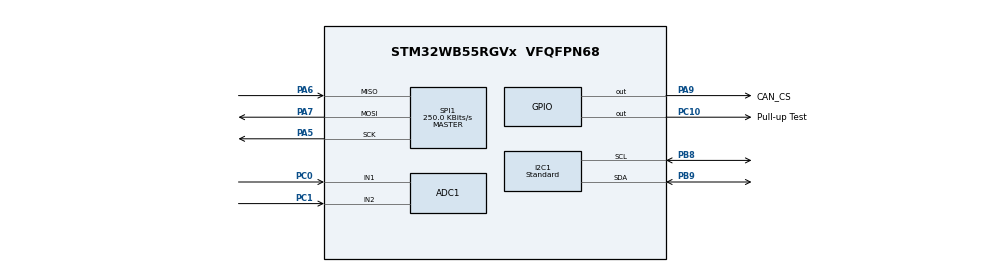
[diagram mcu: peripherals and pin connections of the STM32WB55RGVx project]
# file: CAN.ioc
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ADC1.Channel-2\#ChannelRegularConversion=ADC_CHANNEL_1
ADC1.NbrOfConversionFlag=1
ADC1.OffsetNumber-2\#ChannelRegularConversion=ADC_OFFSET_NONE
ADC1.Rank-2\#ChannelRegularConversion=1
ADC1.SamplingTime-2\#ChannelRegularConversion=ADC_SAMPLETIME_2CYCLES_5
ADC1.SingleDiff-2\#ChannelRegularConversion=ADC_DIFFERENTIAL_ENDED
ADC1.master=1
I2C1.I2C_Speed_Mode=I2C_Standard
I2C1.Speed=100
I2C1.Timing=0x00B07CB4
Mcu.Family=STM32WB
Mcu.Name=STM32WB55RGVx
Mcu.Package=VFQFPN68
NVIC.PriorityGroup=NVIC_PRIORITYGROUP_4
OSC_IN.GPIO_Label=RCC_OSC_IN
OSC_IN.Mode=HSE-External-Oscillator
OSC_IN.Signal=RCC_OSC_IN
OSC_OUT.GPIO_Label=RCC_OSC_OUT
OSC_OUT.Mode=HSE-External-Oscillator
OSC_OUT.Signal=RCC_OSC_OUT
PA11.GPIO_Label=USB_DM
PA11.Signal=USB_DM
PA12.GPIO_Label=USB_DP
PA12.Signal=USB_DP
PA13.GPIO_Label=JTMS
PA13.Mode=Serial_Wire
PA13.Signal=SYS_JTMS-SWDIO
PA14.GPIO_Label=JTCK
PA14.Mode=Serial_Wire
PA14.Signal=SYS_JTCK-SWCLK
PA5.Mode=Full_Duplex_Master
PA5.Signal=SPI1_SCK
PA6.Mode=Full_Duplex_Master
PA6.Signal=SPI1_MISO
PA7.Mode=Full_Duplex_Master
PA7.Signal=SPI1_MOSI
PA9.GPIO_Label=CAN_CS
PA9.Signal=GPIO_Output
PB3.GPIO_Label=JTDO
PB3.Signal=SYS_JTDO-SWO
PB6.GPIO_Label=STLINK_RX
PB6.Signal=USART1_TX
PB7.GPIO_Label=STLINK_TX
PB7.Signal=USART1_RX
PB8.GPIO_Pu=GPIO_PULLUP
PB8.Mode=I2C
PB8.Signal=I2C1_SCL
PB9.GPIO_Pu=GPIO_PULLUP
PB9.Mode=I2C
PB9.Signal=I2C1_SDA
PC0.Signal=ADCx_IN1
PC1.Signal=ADCx_IN2
PC10.GPIO_Label=Pull-up Test
PC10.GPIO_PuPd=GPIO_PULLUP
PC10.Signal=GPIO_Output
PC13.GPIO_Label=SYS_WKUP2
PC13.Signal=SYS_WKUP2
PC14-OSC32_IN.GPIO_Label=RCC_OSC32_IN
PC14-OSC32_IN.Mode=LSE-External-Oscillator
PC14-OSC32_IN.Signal=RCC_OSC32_IN
PC15-OSC32_OUT.GPIO_Label=RCC_OSC32_OUT
PC15-OSC32_OUT.Mode=LSE-External-Oscillator
PC15-OSC32_OUT.Signal=RCC_OSC32_OUT
ProjectManager.HeapSize=0x200
ProjectManager.StackSize=0x400
ProjectManager.TargetToolchain=STM32CubeIDE
RCC.ADCFreq_Value=48000000
RCC.AHBFreq_Value=32000000
RCC.APB1Freq_Value=32000000
RCC.APB1TimFreq_Value=32000000
RCC.APB2Freq_Value=32000000
RCC.APB2TimFreq_Value=32000000
RCC.APB3Freq_Value=16000000
RCC.CortexFreq_Value=32000000
RCC.HCLKFreq_Value=32000000
RCC.HSE_VALUE=32000000
RCC.HSI48_VALUE=48000000
RCC.HSI_VALUE=16000000
RCC.PLLN=24
RCC.PLLR=RCC_PLLR_DIV3
RCC.PLLSAI1N=24
RCC.SMPSCLockSelection=RCC_SMPSCLKSOURCE_HSI
RCC.SMPSCLockSelectionVirtual=RCC_SMPSCLKSOURCE_HSI
RCC.SMPSCLockSelectionVirtualVirtual=RCC_SMPSCLKSOURCE_HSI
RCC.SMPSDivider=1
RCC.SYSCLKFreq_VALUE=32000000
RCC.SYSCLKSource=RCC_SYSCLKSOURCE_PLLCLK
RCC.USBFreq_Value=48000000
RCC.VCOOutputFreq_Value=96000000
SH.ADCx_IN1.0=ADC1_IN1,IN1-Differential
SH.ADCx_IN2.0=ADC1_IN2,IN1-Differential
SPI1.BaudRatePrescaler=SPI_BAUDRATEPRESCALER_128
SPI1.CalculateBaudRate=250.0 KBits/s
SPI1.DataSize=SPI_DATASIZE_8BIT
SPI1.Direction=SPI_DIRECTION_2LINES
SPI1.Mode=SPI_MODE_MASTER
SPI1.VirtualType=VM_MASTER
VP_IPCC_VS_IPCC.Mode=IPCC_Activate
VP_MEMORYMAP_VS_MEMORYMAP.Mode=CurAppReg
board=P-NUCLEO-WB55-NUCLEO

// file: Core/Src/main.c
/* USER CODE BEGIN Header */
/**
  ******************************************************************************
  * @file           : main.c
  * @brief          : Main program body
  ******************************************************************************
  * @attention
  *
  * Copyright (c) 2024 STMicroelectronics.
  * All rights reserved.
  *
  * This software is licensed under terms that can be found in the LICENSE file
  * in the root directory of this software component.
  * If no LICENSE file comes with this software, it is provided AS-IS.
  *
  ******************************************************************************
  */
/* USER CODE END Header */
#include "main.h"

/* USER CODE BEGIN Includes */
#include <math.h>
#include "spi.h"
#include "gpio.h"
#include "CANSPI.h"
#include "ltc2497.h"  // Adjusted include to match the filename
/* USER CODE END Includes */

/* USER CODE BEGIN PD */
#define LTC2497_DEVICE_ADDRESS    LTC2497_I2C_ADDRESS  // Use the address defined in ltc2497.h
#define NUM_POINTS 33
/* USER CODE END PD */

ADC_HandleTypeDef hadc1;

I2C_HandleTypeDef hi2c1;

IPCC_HandleTypeDef hipcc;

SPI_HandleTypeDef hspi1;

/* USER CODE BEGIN PV */
int8_t thermistor_values[NUM_THERMISTORS];  // Store temperature values in °C

// Define the differential channels you want to read
uint8_t differential_channels[NUM_THERMISTORS] = {
    LTC2497_CH_P0_N1,  // First differential pair (Adjusted constants)
    LTC2497_CH_P2_N3,   // Second differential pair
	LTC2497_CH_P4_N5,
	LTC2497_CH_P6_N7,
	LTC2497_CH_P8_N9,
	LTC2497_CH_P10_N11,
	LTC2497_CH_P12_N13,
	LTC2497_CH_P14_N15
};

uint32_t last_address_claim_time = 0;
uint32_t last_module_broadcast_time = 0;
uint32_t last_general_broadcast_time = 0;

uCAN_MSG txMessage;
uCAN_MSG rxMessage;

uint8_t adc_command;
int32_t adc_code;
float adc_voltage;
float temperature_celsius;
float vref = 5.0f; // Reference voltage for the LTC2497, adjust if different

float voltage_table[NUM_POINTS] = {
    2.44, 2.42, 2.40, 2.38, 2.35, 2.32, 2.27, 2.23, 2.17, 2.11, 2.05, 1.99,
    1.92, 1.86, 1.80, 1.74, 1.68, 1.63, 1.59, 1.55, 1.51, 1.48, 1.45, 1.43,
    1.40, 1.38, 1.37, 1.35, 1.34, 1.33, 1.32, 1.31, 1.30
};

float temperature_table[NUM_POINTS] = {
    -40, -35, -30, -25, -20, -15, -10, -5, 0, 5, 10, 15,
    20, 25, 30, 35, 40, 45, 50, 55, 60, 65, 70, 75,
    80, 85, 90, 95, 100, 105, 110, 115, 120
};
/* USER CODE END PV */

void SystemClock_Config(void);
void PeriphCommonClock_Config(void);
static void MX_GPIO_Init(void);
static void MX_ADC1_Init(void);
static void MX_I2C1_Init(void);
static void MX_SPI1_Init(void);
static void MX_IPCC_Init(void);
/* USER CODE BEGIN PFP */
void Send_Address_Claim_Broadcast(void);
void Send_Thermistor_Module_Broadcast(void);
void Send_Thermistor_General_Broadcast(void);

uint8_t I2C_DeviceReady(I2C_HandleTypeDef *hi2c, uint16_t device_address);
/* USER CODE END PFP */

/* USER CODE BEGIN 0 */
/* Function to convert differential voltage to temperature */
float VoltageToTemperature(float voltage)
{
    // Handle out-of-range voltages
    if (voltage >= voltage_table[0])
    {
        return temperature_table[0]; // Voltage is higher than highest in table
    }
    if (voltage <= voltage_table[NUM_POINTS - 1])
    {
        return temperature_table[NUM_POINTS - 1]; // Voltage is lower than lowest in table
    }

    // Search for the interval containing the voltage
    for (int i = 0; i < NUM_POINTS - 1; i++)
    {
        if (voltage <= voltage_table[i] && voltage >= voltage_table[i+1])
        {
            // Perform linear interpolation
            float v1 = voltage_table[i];
            float v2 = voltage_table[i+1];
            float t1 = temperature_table[i];
            float t2 = temperature_table[i+1];

            // Interpolate
            float temperature = t1 + (voltage - v1) * (t2 - t1) / (v2 - v1);

            return temperature;
        }
    }

    // If voltage not found in table, return an error value
    return -999; // Indicate error
}

uint8_t I2C_DeviceReady(I2C_HandleTypeDef *hi2c, uint16_t device_address)
{
    if (HAL_I2C_IsDeviceReady(hi2c, device_address << 1, 3, 1000) == HAL_OK)
    {
        // Device is ready
        return 1;
    }
    else
    {
        // Device is not ready
        return 0;
    }
}
/* USER CODE END 0 */

int main(void)
{

  /* MCU Configuration--------------------------------------------------------*/

  HAL_Init();

  SystemClock_Config();
  PeriphCommonClock_Config();
  MX_IPCC_Init();

  MX_GPIO_Init();
  MX_ADC1_Init();
  MX_I2C1_Init();
  MX_SPI1_Init();
  /* USER CODE BEGIN 2 */
  CANSPI_Initialize();

  /* USER CODE END 2 */

  /* Infinite loop */
  while (1)
  {

    /* USER CODE BEGIN 3 */
        for (uint8_t i = 0; i < NUM_THERMISTORS; i++)
        {
            // Build command for the current differential channel
            adc_command = differential_channels[i];  // Adjusted command building

            // Read temperature data from LTC2497
            if (LTC2497_Read(LTC2497_DEVICE_ADDRESS, adc_command, &adc_code, 1000) == 0)  // Removed &hi2c1
            {
                // Convert ADC code to voltage
                adc_voltage = LTC2497_CodeToVoltage(adc_code, vref);

                // Convert voltage to temperature in degrees Celsius
                temperature_celsius = VoltageToTemperature(adc_voltage);

                // Store temperature as int8_t in degrees Celsius
                thermistor_values[i] = (int8_t)(temperature_celsius);
            }
            else
            {
                // Handle LTC2497 read error
            }

        }

              // Send Address Claim Broadcast every 200 ms
              if (HAL_GetTick() - last_address_claim_time >= 200)
              {
                  Send_Address_Claim_Broadcast();
                  last_address_claim_time = HAL_GetTick();
              }

              // Send Thermistor Module Broadcast every 100 ms
              if (HAL_GetTick() - last_module_broadcast_time >= 100)
              {
                  Send_Thermistor_Module_Broadcast();
                  last_module_broadcast_time = HAL_GetTick();
              }

              // Send Thermistor General Broadcast every 100 ms
              if (HAL_GetTick() - last_general_broadcast_time >= 100)
              {
                  Send_Thermistor_General_Broadcast();
                  last_general_broadcast_time = HAL_GetTick();
              }

              // Optional: Handle incoming CAN messages
              if (CANSPI_Receive(&rxMessage))
              {
                  // Process received messages if necessary
              }

  /* USER CODE END 3 */
}
}

void SystemClock_Config(void)
{
  RCC_OscInitTypeDef RCC_OscInitStruct = {0};
  RCC_ClkInitTypeDef RCC_ClkInitStruct = {0};

  /** Configure the main internal regulator output voltage
  */
  __HAL_PWR_VOLTAGESCALING_CONFIG(PWR_REGULATOR_VOLTAGE_SCALE1);

  /** Initializes the RCC Oscillators according to the specified parameters
  * in the RCC_OscInitTypeDef structure.
  */
  RCC_OscInitStruct.OscillatorType = RCC_OSCILLATORTYPE_HSI|RCC_OSCILLATORTYPE_HSE
                              |RCC_OSCILLATORTYPE_MSI;
  RCC_OscInitStruct.HSEState = RCC_HSE_ON;
  RCC_OscInitStruct.HSIState = RCC_HSI_ON;
  RCC_OscInitStruct.MSIState = RCC_MSI_ON;
  RCC_OscInitStruct.HSICalibrationValue = RCC_HSICALIBRATION_DEFAULT;
  RCC_OscInitStruct.MSICalibrationValue = RCC_MSICALIBRATION_DEFAULT;
  RCC_OscInitStruct.MSIClockRange = RCC_MSIRANGE_6;
  RCC_OscInitStruct.PLL.PLLState = RCC_PLL_ON;
  RCC_OscInitStruct.PLL.PLLSource = RCC_PLLSOURCE_MSI;
  RCC_OscInitStruct.PLL.PLLM = RCC_PLLM_DIV1;
  RCC_OscInitStruct.PLL.PLLN = 24;
  RCC_OscInitStruct.PLL.PLLP = RCC_PLLP_DIV2;
  RCC_OscInitStruct.PLL.PLLR = RCC_PLLR_DIV3;
  RCC_OscInitStruct.PLL.PLLQ = RCC_PLLQ_DIV2;
  if (HAL_RCC_OscConfig(&RCC_OscInitStruct) != HAL_OK)
  {
    Error_Handler();
  }

  /** Configure the SYSCLKSource, HCLK, PCLK1 and PCLK2 clocks dividers
  */
  RCC_ClkInitStruct.ClockType = RCC_CLOCKTYPE_HCLK4|RCC_CLOCKTYPE_HCLK2
                              |RCC_CLOCKTYPE_HCLK|RCC_CLOCKTYPE_SYSCLK
                              |RCC_CLOCKTYPE_PCLK1|RCC_CLOCKTYPE_PCLK2;
  RCC_ClkInitStruct.SYSCLKSource = RCC_SYSCLKSOURCE_PLLCLK;
  RCC_ClkInitStruct.AHBCLKDivider = RCC_SYSCLK_DIV1;
  RCC_ClkInitStruct.APB1CLKDivider = RCC_HCLK_DIV1;
  RCC_ClkInitStruct.APB2CLKDivider = RCC_HCLK_DIV1;
  RCC_ClkInitStruct.AHBCLK2Divider = RCC_SYSCLK_DIV1;
  RCC_ClkInitStruct.AHBCLK4Divider = RCC_SYSCLK_DIV1;

  if (HAL_RCC_ClockConfig(&RCC_ClkInitStruct, FLASH_LATENCY_1) != HAL_OK)
  {
    Error_Handler();
  }
}

void PeriphCommonClock_Config(void)
{
  RCC_PeriphCLKInitTypeDef PeriphClkInitStruct = {0};

  /** Initializes the peripherals clock
  */
  PeriphClkInitStruct.PeriphClockSelection = RCC_PERIPHCLK_SMPS;
  PeriphClkInitStruct.SmpsClockSelection = RCC_SMPSCLKSOURCE_HSI;
  PeriphClkInitStruct.SmpsDivSelection = RCC_SMPSCLKDIV_RANGE0;

  if (HAL_RCCEx_PeriphCLKConfig(&PeriphClkInitStruct) != HAL_OK)
  {
    Error_Handler();
  }
}

static void MX_ADC1_Init(void)
{

  ADC_ChannelConfTypeDef sConfig = {0};

  /** Common config
  */
  hadc1.Instance = ADC1;
  hadc1.Init.ClockPrescaler = ADC_CLOCK_ASYNC_DIV1;
  hadc1.Init.Resolution = ADC_RESOLUTION_12B;
  hadc1.Init.DataAlign = ADC_DATAALIGN_RIGHT;
  hadc1.Init.ScanConvMode = ADC_SCAN_DISABLE;
  hadc1.Init.EOCSelection = ADC_EOC_SINGLE_CONV;
  hadc1.Init.LowPowerAutoWait = DISABLE;
  hadc1.Init.ContinuousConvMode = DISABLE;
  hadc1.Init.NbrOfConversion = 1;
  hadc1.Init.DiscontinuousConvMode = DISABLE;
  hadc1.Init.ExternalTrigConv = ADC_SOFTWARE_START;
  hadc1.Init.ExternalTrigConvEdge = ADC_EXTERNALTRIGCONVEDGE_NONE;
  hadc1.Init.DMAContinuousRequests = DISABLE;
  hadc1.Init.Overrun = ADC_OVR_DATA_PRESERVED;
  hadc1.Init.OversamplingMode = DISABLE;
  if (HAL_ADC_Init(&hadc1) != HAL_OK)
  {
    Error_Handler();
  }

  /** Configure Regular Channel
  */
  sConfig.Channel = ADC_CHANNEL_1;
  sConfig.Rank = ADC_REGULAR_RANK_1;
  sConfig.SamplingTime = ADC_SAMPLETIME_2CYCLES_5;
  sConfig.SingleDiff = ADC_DIFFERENTIAL_ENDED;
  sConfig.OffsetNumber = ADC_OFFSET_NONE;
  sConfig.Offset = 0;
  if (HAL_ADC_ConfigChannel(&hadc1, &sConfig) != HAL_OK)
  {
    Error_Handler();
  }

}

static void MX_I2C1_Init(void)
{

  hi2c1.Instance = I2C1;
  hi2c1.Init.Timing = 0x00B07CB4;
  hi2c1.Init.OwnAddress1 = 0;
  hi2c1.Init.AddressingMode = I2C_ADDRESSINGMODE_7BIT;
  hi2c1.Init.DualAddressMode = I2C_DUALADDRESS_DISABLE;
  hi2c1.Init.OwnAddress2 = 0;
  hi2c1.Init.OwnAddress2Masks = I2C_OA2_NOMASK;
  hi2c1.Init.GeneralCallMode = I2C_GENERALCALL_DISABLE;
  hi2c1.Init.NoStretchMode = I2C_NOSTRETCH_DISABLE;
  if (HAL_I2C_Init(&hi2c1) != HAL_OK)
  {
    Error_Handler();
  }

  /** Configure Analogue filter
  */
  if (HAL_I2CEx_ConfigAnalogFilter(&hi2c1, I2C_ANALOGFILTER_ENABLE) != HAL_OK)
  {
    Error_Handler();
  }

  /** Configure Digital filter
  */
  if (HAL_I2CEx_ConfigDigitalFilter(&hi2c1, 0) != HAL_OK)
  {
    Error_Handler();
  }

}

static void MX_IPCC_Init(void)
{

  hipcc.Instance = IPCC;
  if (HAL_IPCC_Init(&hipcc) != HAL_OK)
  {
    Error_Handler();
  }

}

static void MX_SPI1_Init(void)
{

  /* SPI1 parameter configuration*/
  hspi1.Instance = SPI1;
  hspi1.Init.Mode = SPI_MODE_MASTER;
  hspi1.Init.Direction = SPI_DIRECTION_2LINES;
  hspi1.Init.DataSize = SPI_DATASIZE_8BIT;
  hspi1.Init.CLKPolarity = SPI_POLARITY_LOW;
  hspi1.Init.CLKPhase = SPI_PHASE_1EDGE;
  hspi1.Init.NSS = SPI_NSS_SOFT;
  hspi1.Init.BaudRatePrescaler = SPI_BAUDRATEPRESCALER_128;
  hspi1.Init.FirstBit = SPI_FIRSTBIT_MSB;
  hspi1.Init.TIMode = SPI_TIMODE_DISABLE;
  hspi1.Init.CRCCalculation = SPI_CRCCALCULATION_DISABLE;
  hspi1.Init.CRCPolynomial = 7;
  hspi1.Init.CRCLength = SPI_CRC_LENGTH_DATASIZE;
  hspi1.Init.NSSPMode = SPI_NSS_PULSE_ENABLE;
  if (HAL_SPI_Init(&hspi1) != HAL_OK)
  {
    Error_Handler();
  }

}

static void MX_GPIO_Init(void)
{
  GPIO_InitTypeDef GPIO_InitStruct = {0};

  /* GPIO Ports Clock Enable */
  __HAL_RCC_GPIOC_CLK_ENABLE();
  __HAL_RCC_GPIOB_CLK_ENABLE();
  __HAL_RCC_GPIOA_CLK_ENABLE();

  /*Configure GPIO pin Output Level */
  HAL_GPIO_WritePin(CAN_CS_GPIO_Port, CAN_CS_Pin, GPIO_PIN_RESET);

  /*Configure GPIO pin Output Level */
  HAL_GPIO_WritePin(Pull_up_Test_GPIO_Port, Pull_up_Test_Pin, GPIO_PIN_RESET);

  /*Configure GPIO pin : CAN_CS_Pin */
  GPIO_InitStruct.Pin = CAN_CS_Pin;
  GPIO_InitStruct.Mode = GPIO_MODE_OUTPUT_PP;
  GPIO_InitStruct.Pull = GPIO_NOPULL;
  GPIO_InitStruct.Speed = GPIO_SPEED_FREQ_LOW;
  HAL_GPIO_Init(CAN_CS_GPIO_Port, &GPIO_InitStruct);

  /*Configure GPIO pins : USB_DM_Pin USB_DP_Pin */
  GPIO_InitStruct.Pin = USB_DM_Pin|USB_DP_Pin;
  GPIO_InitStruct.Mode = GPIO_MODE_AF_PP;
  GPIO_InitStruct.Pull = GPIO_NOPULL;
  GPIO_InitStruct.Speed = GPIO_SPEED_FREQ_LOW;
  GPIO_InitStruct.Alternate = GPIO_AF10_USB;
  HAL_GPIO_Init(GPIOA, &GPIO_InitStruct);

  /*Configure GPIO pin : Pull_up_Test_Pin */
  GPIO_InitStruct.Pin = Pull_up_Test_Pin;
  GPIO_InitStruct.Mode = GPIO_MODE_OUTPUT_PP;
  GPIO_InitStruct.Pull = GPIO_PULLUP;
  GPIO_InitStruct.Speed = GPIO_SPEED_FREQ_LOW;
  HAL_GPIO_Init(Pull_up_Test_GPIO_Port, &GPIO_InitStruct);

  /*Configure GPIO pins : STLINK_RX_Pin STLINK_TX_Pin */
  GPIO_InitStruct.Pin = STLINK_RX_Pin|STLINK_TX_Pin;
  GPIO_InitStruct.Mode = GPIO_MODE_AF_PP;
  GPIO_InitStruct.Pull = GPIO_NOPULL;
  GPIO_InitStruct.Speed = GPIO_SPEED_FREQ_LOW;
  GPIO_InitStruct.Alternate = GPIO_AF7_USART1;
  HAL_GPIO_Init(GPIOB, &GPIO_InitStruct);

}

/* USER CODE BEGIN 4 */
void Send_Address_Claim_Broadcast(void)
{
    uCAN_MSG txMessage;
    txMessage.frame.idType = CAN_FRAME_EXT;
    txMessage.frame.id = 0x18EEFF80 | MODULE_NUMBER;  // The last byte is the source address (MODULE_NUMBER)
    txMessage.frame.dlc = 8;

    txMessage.frame.data0 = 0xF3;                                  // Unique identifier
    txMessage.frame.data1 = 0x00;
    txMessage.frame.data2 = 0x80;
    txMessage.frame.data3 = BMS_TARGET_ADDRESS;                    // BMS Target Address (default 0x80)
    txMessage.frame.data4 = MODULE_NUMBER << 3;                    // Thermistor Module Number shifted left by 3
    txMessage.frame.data5 = 0x40;                                  // Constant
    txMessage.frame.data6 = 0x1E;                                  // Constant
    txMessage.frame.data7 = 0x90;                                  // Constant
                                // Unused or default value

    // Transmit the CAN message
    if (CANSPI_Transmit(&txMessage) != 0)
    {
        // Handle transmission error if needed
    }
}

void Send_Thermistor_Module_Broadcast(void)
{
    uCAN_MSG txMessage;
    txMessage.frame.idType = CAN_FRAME_EXT;
    txMessage.frame.id = 0x1839F380 | MODULE_NUMBER;  // Source address is module number
    txMessage.frame.dlc = 8;

    int8_t lowest_temp = thermistor_values[0];
    int8_t highest_temp = thermistor_values[0];
    int32_t sum_temp = thermistor_values[0];
    uint8_t lowest_temp_id = 0;
    uint8_t highest_temp_id = 0;

    for (uint8_t i = 1; i < NUM_THERMISTORS; i++)
    {
        if (thermistor_values[i] < lowest_temp)
        {
            lowest_temp = thermistor_values[i];
            lowest_temp_id = i;
        }
        if (thermistor_values[i] > highest_temp)
        {
            highest_temp = thermistor_values[i];
            highest_temp_id = i;
        }
        sum_temp += thermistor_values[i];
    }

    txMessage.frame.data0 = MODULE_NUMBER;
    txMessage.frame.data1 = lowest_temp;                              // Lowest temperature
    txMessage.frame.data2 = highest_temp;                             // Highest temperature
    txMessage.frame.data3 = (int8_t)(sum_temp / NUM_THERMISTORS);     // Average temperature
    txMessage.frame.data4 = NUM_THERMISTORS;                          // Number of thermistors enabled
    txMessage.frame.data5 = highest_temp_id;                          // Highest thermistor ID
    txMessage.frame.data6 = lowest_temp_id;                           // Lowest thermistor ID

    // Calculate checksum
    uint16_t sum = 0x39 + txMessage.frame.dlc;  // Start with 0x39 and length
    sum += txMessage.frame.data0;
    sum += txMessage.frame.data1;
    sum += txMessage.frame.data2;
    sum += txMessage.frame.data3;
    sum += txMessage.frame.data4;
    sum += txMessage.frame.data5;
    sum += txMessage.frame.data6;
    txMessage.frame.data7 = (uint8_t)(sum & 0xFF);  // Checksum is lower 8 bits

    // Transmit the CAN message
    if (CANSPI_Transmit(&txMessage) != 0)
    {
        // Handle transmission error if needed
    }
}

/* Implement Send_Thermistor_General_Broadcast as before */
void Send_Thermistor_General_Broadcast(void)
{
    static uint8_t thermistor_index = 0;  // Keep track of which thermistor to send

    uCAN_MSG txMessage;
    txMessage.frame.idType = CAN_FRAME_EXT;
    txMessage.frame.id = 0x1838F380 | MODULE_NUMBER;  // Source address is module number
    txMessage.frame.dlc = 8;

    // Calculate Thermistor ID relative to all configured modules
    uint8_t thermistor_id_all = MODULE_NUMBER * NUM_THERMISTORS + thermistor_index;
    int8_t lowest_temp = thermistor_values[0];
    int8_t highest_temp = thermistor_values[0];
    int32_t sum_temp = thermistor_values[0];
    uint8_t lowest_temp_id = 0;
    uint8_t highest_temp_id = 0;

    for (uint8_t i = 1; i < NUM_THERMISTORS; i++)
    {
        if (thermistor_values[i] < lowest_temp)
        {
            lowest_temp = thermistor_values[i];
            lowest_temp_id = i;
        }
        if (thermistor_values[i] > highest_temp)
        {
            highest_temp = thermistor_values[i];
            highest_temp_id = i;
        }
        sum_temp += thermistor_values[i];
    }

    txMessage.frame.data0 = thermistor_id_all;
    txMessage.frame.data1 = thermistor_id_all;
    txMessage.frame.data2 = thermistor_values[thermistor_index];  // Temperature in °C
    txMessage.frame.data3 = thermistor_index;                     // Thermistor ID relative to this module
    txMessage.frame.data4 = lowest_temp;  // Current temperature
    txMessage.frame.data5 = highest_temp;  // Can be used for other data
    txMessage.frame.data6 = highest_temp_id;                // Highest thermistor ID
    txMessage.frame.data7 = lowest_temp_id;                 // Lowest thermistor ID

    // Update thermistor_index for next call
    thermistor_index = (thermistor_index + 1) % NUM_THERMISTORS;

    // Transmit the CAN message
    if (CANSPI_Transmit(&txMessage) != 0)
    {
        // Handle transmission error if needed
    }
}

/* USER CODE END 4 */

void Error_Handler(void)
{
  __disable_irq();
  while (1)
  {
  }
}
